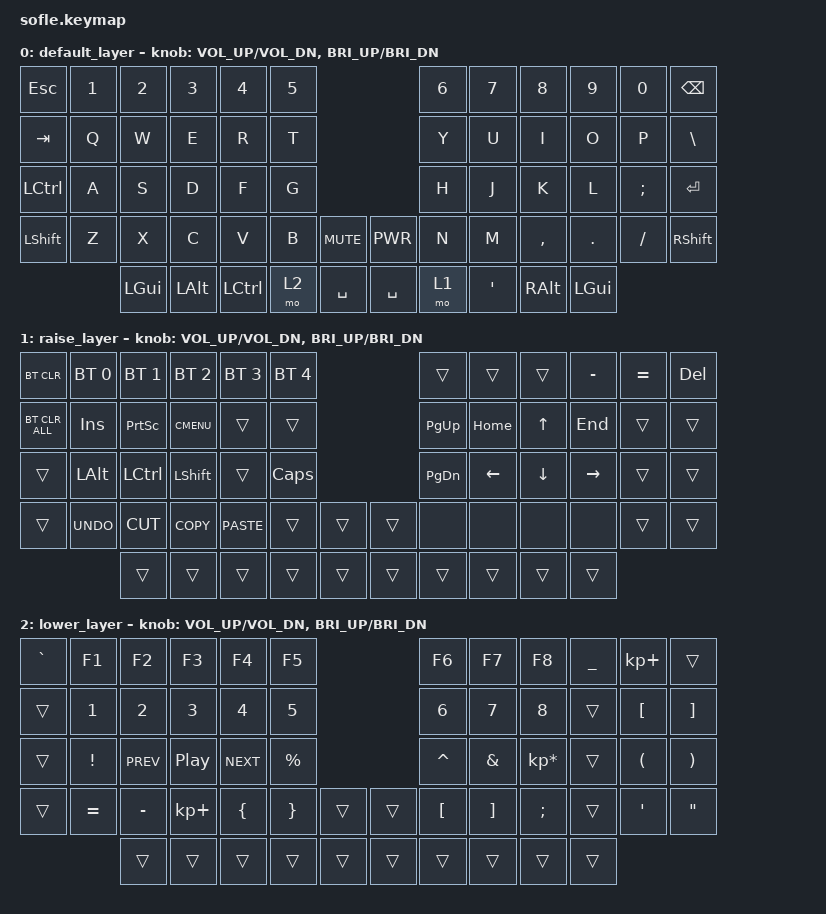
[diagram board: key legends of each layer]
/*
 * Copyright (c) 2020 The ZMK Contributors
 *
 * SPDX-License-Identifier: MIT
 */

#include <behaviors.dtsi>
#include <dt-bindings/zmk/bt.h>
#include <dt-bindings/zmk/keys.h>

/ {
    keymap {
        compatible = "zmk,keymap";

        default_layer {
            // ------------------------------------------------------------------------------------------------------------
            // |  ESC  |  1  |  2  |  3   |  4   |  5   |                   |  6   |  7    |  8    |  9   |   0   | BKSPC |
            // |  TAB  |  Q  |  W  |  E   |  R   |  T   |                   |  Y   |  U    |  I    |  O   |   P   |   \   |
            // | SHIFT |  A  |  S  |  D   |  F   |  G   |                   |  H   |  J    |  K    |  L   |   ;   | ENTER |
            // | LCTRL |  Z  |  X  |  C   |  V   |  B   |  MUTE  |  |       |  N   |  M    |  ,    |  .   |   /   | SHIFT |
            //               | CTRL| ALT  | GUI  | LOWER|  SPACE |  | SPACE | RAISE|  '    | ALT   | GUI  |

            bindings = <
&kp ESC    &kp N1  &kp N2    &kp N3    &kp N4     &kp N5                           &kp N6  &kp N7   &kp N8     &kp N9    &kp N0    &kp BSPC
&kp TAB    &kp Q   &kp W     &kp E     &kp R      &kp T                            &kp Y   &kp U    &kp I      &kp O     &kp P     &kp BSLH
&kp LCTRL  &kp A   &kp S     &kp D     &kp F      &kp G                            &kp H   &kp J    &kp K      &kp L     &kp SEMI  &kp RET
&kp LSHFT  &kp Z   &kp X     &kp C     &kp V      &kp B   &kp C_MUTE    &kp K_PWR  &kp N   &kp M    &kp COMMA  &kp DOT   &kp FSLH  &kp RSHFT
                   &kp LGUI  &kp LALT  &kp LCTRL  &mo 2   &kp SPACE     &kp SPACE  &mo 1   &kp SQT  &kp RALT   &kp LGUI
            >;

            sensor-bindings = <&inc_dec_kp C_VOL_UP C_VOL_DN &inc_dec_kp C_BRI_UP C_BRI_DN>;
        };

        raise_layer {
            // ------------------------------------------------------------------------------------------------------------
            // |BTCLR| BT1  | BT2  |  BT3  |  BT4  |  BT5 |                |      |      |       |      |       |  DEL  |
            // |     | INS  | PSCR | GUI   |       |      |                | PGUP | HOME |   ^   |  END |       |       |
            // |     | ALT  | CTRL | SHIFT |       | CAPS |                | PGDN |   <- |   v   |  ->  |       |       |
            // |     | UNDO | CUT  | COPY  | PASTE |      |      |  |      |      |      |       |      |       |       |
            //              |      |       |       |      |      |  |      |      |      |       |      |

            bindings = <
&bt BT_CLR      &bt BT_SEL 0  &bt BT_SEL 1  &bt BT_SEL 2  &bt BT_SEL 3  &bt BT_SEL 4                    &trans     &trans    &trans    &kp MINUS  &kp EQUAL  &kp DEL
&bt BT_CLR_ALL  &kp INS       &kp PSCRN     &kp K_CMENU   &trans        &trans                          &kp PG_UP  &kp HOME  &kp UP    &kp END    &trans     &trans
&trans          &kp LALT      &kp LCTRL     &kp LSHFT     &trans        &kp CLCK                        &kp PG_DN  &kp LEFT  &kp DOWN  &kp RIGHT  &trans     &trans
&trans          &kp K_UNDO    &kp K_CUT     &kp K_COPY    &kp K_PASTE   &trans        &trans    &trans  &none      &none     &none     &none      &trans     &trans
                              &trans        &trans        &trans        &trans        &trans    &trans  &trans     &trans    &trans    &trans
            >;

            sensor-bindings = <&inc_dec_kp C_VOL_UP C_VOL_DN &inc_dec_kp C_BRI_UP C_BRI_DN>;
        };

        lower_layer {
            // TODO: Some binds are waiting for shifted keycode support.
            // ------------------------------------------------------------------------------------------------------------
            // |       |  F1 |  F2 |  F3  |  F4  |  F5  |                   |  F6  |  F7   |  F8   |  F9  |  F10  |  F11  |
            // | `     |   1 |   2 |   3  |   4  |   5  |                   |   6  |   7   |   8   |   9  |    0  |  F12  |
            // |       |  !  |  @  |  #   |  $   |  %   |                   |  ^   |  &    |  *    |  (   |   )   |   |   |
            // |       |  =  |  -  |  +   |  {   |  }   |        |  |       |  [   |  ]    |  ;    |  :   |   \   |       |
            //               |     |      |      |      |        |  |       |      |       |       |      |

            bindings = <
&kp GRAVE  &kp F1     &kp F2      &kp F3       &kp F4      &kp F5                       &kp F6     &kp F7    &kp F8           &kp UNDER  &kp KP_PLUS  &trans
&trans     &kp N1     &kp N2      &kp N3       &kp N4      &kp N5                       &kp N6     &kp N7    &kp N8           &trans     &kp LBKT     &kp RBKT
&trans     &kp EXCL   &kp C_PREV  &kp C_PP     &kp C_NEXT  &kp PRCNT                    &kp CARET  &kp AMPS  &kp KP_MULTIPLY  &trans     &kp LPAR     &kp RPAR
&trans     &kp EQUAL  &kp MINUS   &kp KP_PLUS  &kp LBRC    &kp RBRC   &trans    &trans  &kp LBKT   &kp RBKT  &kp SEMI         &trans     &kp SQT      &kp DQT
                      &trans      &trans       &trans      &trans     &trans    &trans  &trans     &trans    &trans           &trans
            >;

            sensor-bindings = <&inc_dec_kp C_VOL_UP C_VOL_DN &inc_dec_kp C_BRI_UP C_BRI_DN>;
        };
    };
};
